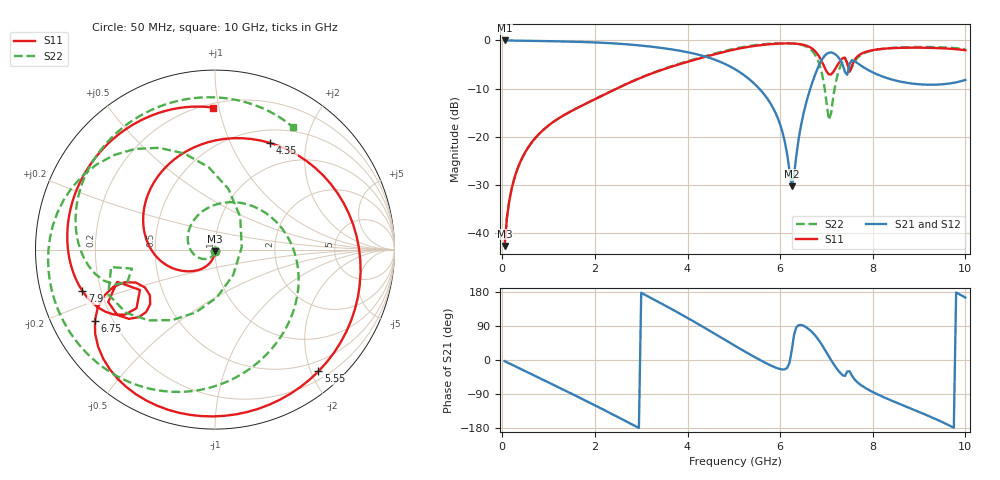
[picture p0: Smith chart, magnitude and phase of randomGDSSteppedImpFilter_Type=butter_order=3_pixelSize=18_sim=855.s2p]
! freq	dB(S11)	phase(S11)	dB(S12)	phase(S12)
!  dB(S21)	phase(S21)	dB(S22)	phase(S22)
!S-par simulation data
#  GHz  S  DB  R 50
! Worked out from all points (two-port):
!   200 points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, 50 MHz to 10 GHz, reference 50 ohm
!   highest |S21| = -0.01 dB at 50 MHz (marker M1); lowest = -30.3 dB at 6.25 GHz (marker M2)
!   |S21| within 3 dB of the highest: start of sweep to 4.254 GHz; 6.981 GHz to 7.206 GHz (225.2 MHz wide, 3.17 % of centre)
!   lowest |S11| = -42.7 dB at 50 MHz (marker M3), VSWR 1.01, Z = 50 - j0.733 ohm
!   |S11| at or under -10 dB: start of sweep to 2.471 GHz
!   |S22| runs from -42.7 to -0.6 dB; largest |S21 - S12| = 0
!   S11 on the Smith chart (normalised r, x): 50 MHz: 1.00, -0.01; 4.35 GHz: 0.66, +1.43; 5.55 GHz: 0.32, -2.12; 6.75 GHz: 0.13, -0.27; 7.9 GHz: 0.13, -0.15; 10 GHz: 0.23, +0.96
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0.05  -42.70 -89.7  -0.01 -3.0  -0.01 -3.0  -42.74 -92.3
0.2  -30.87 -96.9  -0.02 -11.9  -0.02 -11.9  -30.92 -106.3
0.5  -23.14 -108.3  -0.06 -29.7  -0.06 -29.7  -23.18 -132.0
1.15  -16.61 -129.5  -0.18 -68.3  -0.18 -68.3  -16.61 171.3
1.75  -13.40 -146.2  -0.33 -104.3  -0.33 -104.3  -13.38 115.8
2.6  -9.42 -175.5  -0.74 -157.1  -0.74 -157.1  -9.38 39.8
3.4  -6.27 139.7  -1.51 151.3  -1.51 151.3  -6.19 -18.3
4.35  -3.49 62.7  -3.26 86.4  -3.26 86.4  -3.33 -71.2
5.05  -1.81 -4.1  -6.13 35.7  -6.13 35.7  -1.64 -106.8
5.55  -1.01 -49.6  -10.03 1.0  -10.03 1.0  -0.87 -133.4
6  -0.65 -86.7  -17.47 -24.0  -17.47 -24.0  -0.57 -159.4
6.25  -0.63 -106.5  -30.28 24.6  -30.28 24.6  -0.61 -176.3
6.7  -1.76 -144.8  -8.57 72.3  -8.57 72.3  -2.27 136.8
6.75  -2.18 -149.4  -7.23 65.5  -7.23 65.5  -2.90 128.5
7.05  -7.06 -151.7  -2.55 9.8  -2.55 9.8  -16.49 5.5
7.25  -4.93 -138.4  -3.42 -27.0  -3.42 -27.0  -6.76 -121.2
7.4  -3.57 -153.9  -6.56 -41.9  -6.56 -41.9  -3.81 -157.2
7.5  -6.47 -151.7  -4.83 -29.9  -4.83 -29.9  -6.47 -167.1
7.9  -2.23 -162.6  -6.14 -78.0  -6.14 -78.0  -2.33 176.6
8.35  -1.64 173.8  -7.95 -104.2  -7.95 -104.2  -1.60 150.3
9.25  -1.55 130.4  -9.20 -150.1  -9.20 -150.1  -1.37 103.8
10  -2.03 90.8  -8.21 164.6  -8.21 164.6  -1.84 57.4
